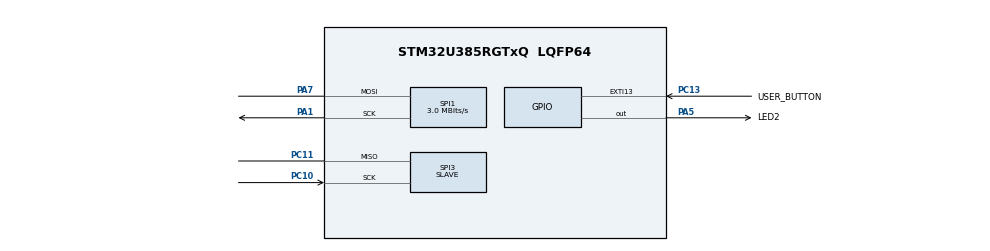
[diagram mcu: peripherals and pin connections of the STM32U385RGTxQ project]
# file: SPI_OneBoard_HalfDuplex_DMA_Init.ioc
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CORTEX_M33_NS.userName=CORTEX_M33
GPDMA1.DESTINC_GPDMACH0=DMA_DINC_INCREMENTED
GPDMA1.DIRECTION_GPDMACH1=DMA_MEMORY_TO_PERIPH
GPDMA1.IPHANDLE_GPDMACH0-SIMPLEREQUEST_GPDMACH0=__NULL
GPDMA1.IPHANDLE_GPDMACH1-SIMPLEREQUEST_GPDMACH1=__NULL
GPDMA1.REQUEST_GPDMACH0=GPDMA1_REQUEST_SPI3_RX
GPDMA1.REQUEST_GPDMACH1=GPDMA1_REQUEST_SPI1_TX
GPDMA1.SRCINC_GPDMACH1=DMA_SINC_INCREMENTED
GPDMA1.TRANSFERALLOCATEDPORTDEST_GPDMACH1=DMA_DEST_ALLOCATED_PORT0
GPDMA1.TRANSFERALLOCATEDPORTSRC_GPDMACH0=DMA_SRC_ALLOCATED_PORT0
Mcu.Family=STM32U3
Mcu.Name=STM32U385RGTxQ
Mcu.Package=LQFP64
NVIC.EXTI13_IRQn=true\:0\:0\:false\:true\:true\:1\:true\:true\:true
NVIC.GPDMA1_Channel0_IRQn=true\:0\:0\:false\:false\:true\:false\:true\:true
NVIC.GPDMA1_Channel1_IRQn=true\:0\:0\:false\:false\:true\:false\:true\:true
NVIC.PriorityGroup=NVIC_PRIORITYGROUP_4
NVIC.SPI1_IRQn=true\:0\:0\:false\:false\:true\:false\:true\:true
NVIC.SPI3_IRQn=true\:0\:0\:false\:false\:true\:false\:true\:true
PA1.Mode=Simplex_Bidirectional_Master
PA1.Signal=SPI1_SCK
PA5.GPIO_Label=LED2
PA5.Signal=GPIO_Output
PA7.Mode=Simplex_Bidirectional_Master
PA7.Signal=SPI1_MOSI
PC10.Mode=Simplex_Bidirectional_Slave
PC10.Signal=SPI3_SCK
PC11.Mode=Simplex_Bidirectional_Slave
PC11.Signal=SPI3_MISO
PC13.GPIO_Label=USER_BUTTON
PC13.GPIO_ModeDefaultEXTI=GPIO_MODE_IT_RISING
PC13.GPIO_PuPd=GPIO_PULLDOWN
PC13.Signal=GPXTI13
ProjectManager.HeapSize=0x200
ProjectManager.StackSize=0x400
ProjectManager.TargetToolchain=EWARM V9.20
RCC.ADCFreq_Value=96000000
RCC.AHBFreq_Value=96000000
RCC.APB1Freq_Value=96000000
RCC.APB1TimFreq_Value=96000000
RCC.APB2Freq_Value=96000000
RCC.APB2TimFreq_Value=96000000
RCC.APB3Freq_Value=96000000
RCC.CortexFreq_Value=12000000
RCC.HCLKFreq_Value=96000000
RCC.HSE_VALUE=24000000
RCC.HSI48_VALUE=48000000
RCC.HSI_VALUE=16000000
RCC.LSE_VALUE=32768
RCC.LSIDIV_VALUE=32000
RCC.MSISDIV=RCC_MSI_DIV1
RCC.SYSCLKFreq_VALUE=96000000
RCC.USBFreq_Value=96000000
SPI1.BaudRatePrescaler=SPI_BAUDRATEPRESCALER_32
SPI1.CalculateBaudRate=3.0 MBits/s
SPI1.DataSize=SPI_DATASIZE_8BIT
SPI1.Direction=SPI_DIRECTION_1LINE
SPI1.Mode=SPI_MODE_MASTER
SPI1.VirtualType=VM_MASTER
SPI3.Direction=SPI_DIRECTION_1LINE
SPI3.Mode=SPI_MODE_SLAVE
SPI3.VirtualType=VM_SLAVE
VP_GPDMA1_VS_GPDMACH0.Mode=SIMPLEREQUEST_GPDMACH0
VP_GPDMA1_VS_GPDMACH1.Mode=SIMPLEREQUEST_GPDMACH1
VP_ICACHE_VS_ICACHE.Mode=DirectMappedCache
VP_PWR_VS_DBSignals.Mode=DisableDeadBatterySignals
VP_PWR_VS_LPOM.Mode=PowerOptimisation
VP_PWR_VS_SECSignals.Mode=Security/Privilege
board=custom

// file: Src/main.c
/* USER CODE BEGIN Header */
/**
  ******************************************************************************
  * @file    Examples_LL/SPI/SPI_OneBoard_HalfDuplex_DMA_Init/Src/main.c
  * @author  MCD Application Team
  * @brief   This example describes how to send/receive bytes over SPI IP using
  *          the STM32U3xx SPI LL API.
  *          Peripheral initialization done using LL initialization function.
  ******************************************************************************
  * @attention
  *
  * Copyright (c) 2024 STMicroelectronics.
  * All rights reserved.
  *
  * This software is licensed under terms that can be found in the LICENSE file
  * in the root directory of this software component.
  * If no LICENSE file comes with this software, it is provided AS-IS.
  *
  ******************************************************************************
  */
/* USER CODE END Header */
#include "main.h"

/* USER CODE BEGIN PTD */
LL_SPI_InitTypeDef spi_initstruct;
/* USER CODE END PTD */

/* USER CODE BEGIN PV */
__IO uint8_t ubButtonPress = 0;

/* Buffer used for transmission */
uint8_t aTxBuffer[] = "**** SPI_OneBoard_HalfDuplex_DMA_Init communication **** SPI_OneBoard_HalfDuplex_DMA_Init communication **** SPI_OneBoard_HalfDuplex_DMA_Init communication ****";
uint8_t ubNbDataToTransmit = sizeof(aTxBuffer);
__IO uint8_t ubTransmissionComplete = 0;

/* Buffer used for reception */
uint8_t aRxBuffer[sizeof(aTxBuffer)];
uint8_t ubNbDataToReceive = sizeof(aTxBuffer);
__IO uint8_t ubReceptionComplete = 0;
/* USER CODE END PV */

void SystemClock_Config(void);
static void MX_GPIO_Init(void);
static void MX_GPDMA1_Init(void);
static void MX_SPI1_Init(void);
static void MX_ICACHE_Init(void);
static void MX_SPI3_Init(void);
static void MX_NVIC_Init(void);
/* USER CODE BEGIN PFP */
void     SystemClock_Config(void);
void     Activate_SPI1(void);
void     Activate_SPI3(void);
void     LED_On(void);
void     LED_Blinking(uint32_t Period);
void     LED_Off(void);
void     UserButton_Callback(void);
void     WaitForUserButtonPress(void);
void     WaitAndCheckEndOfTransfer(void);
uint8_t  Buffercmp8(uint8_t *pBuffer1, uint8_t *pBuffer2, uint8_t BufferLength);
/* USER CODE END PFP */

int main(void)
{

  /* MCU Configuration--------------------------------------------------------*/

  /* Reset of all peripherals, Initializes the Flash interface and the Systick. */

  /* System interrupt init*/
  NVIC_SetPriorityGrouping(NVIC_PRIORITYGROUP_4);

  /* SysTick_IRQn interrupt configuration */
  NVIC_SetPriority(SysTick_IRQn, NVIC_EncodePriority(NVIC_GetPriorityGrouping(),15, 0));

  /* USER CODE BEGIN Init */
  LL_SPI_SetFIFOThreshold(SPI1,LL_SPI_FIFO_TH_01DATA);
  /* USER CODE END Init */

  /* Configure the system clock */
  SystemClock_Config();

  /* Initialize all configured peripherals */
  MX_GPIO_Init();
  MX_GPDMA1_Init();
  MX_SPI1_Init();
  MX_ICACHE_Init();
  MX_SPI3_Init();

  /* Initialize interrupts */
  MX_NVIC_Init();
  /* USER CODE BEGIN 2 */
  /* Enable the SPI3 peripheral */
  Activate_SPI3();

  /* Wait for User push-button press to start transfer */
  WaitForUserButtonPress();

  /* Enable the SPI1 peripheral */
  Activate_SPI1();

  /* Wait for the end of the transfer and check received data */
  /* LED blinking FAST during waiting time */
  WaitAndCheckEndOfTransfer();
  /* USER CODE END 2 */

  /* Infinite loop */
  while (1)
  {

  }
}

void SystemClock_Config(void)
{
  /** Enable Epod Booster
  */
  LL_AHB1_GRP2_EnableClock(LL_AHB1_GRP2_PERIPH_PWR);
  LL_RCC_SetEPODBoosterClkSource(LL_RCC_EPODBOOSTCLKSRCE_MSIS);
  LL_RCC_SetEPODBoosterClkPrescaler(LL_RCC_EPODBOOSTCLKPRESCAL_1);
  LL_PWR_EnableEPODBooster();
  while(LL_PWR_IsActiveFlag_BOOST() != 1U)
  {
  }

  /** Configure the main internal regulator output voltage
  */
  LL_PWR_SetRegulVoltageScaling(LL_PWR_REGU_VOLTAGE_SCALE1);
  while(LL_PWR_GetRegulCurrentVOS() != LL_PWR_REGU_VOLTAGE_SCALE1)
  {
  }

  /** Set Flash latency before switching to MSIS
  */
  LL_FLASH_SetLatency(LL_FLASH_LATENCY_2);
  while(LL_FLASH_GetLatency() != LL_FLASH_LATENCY_2)
  {
  }

  /** Activate MSIS as source
  */
  LL_RCC_MSIS_SetClockSource(LL_RCC_MSIS_CLOCK_SOURCE_RC0);
  LL_RCC_MSIS_SetClockDivision(LL_RCC_MSIS_CLOCK_SOURCE_RC_DIV_1);
  LL_RCC_MSI_SetMSIxClockRange();
  LL_RCC_SetSysClkSource(LL_RCC_SYS_CLKSOURCE_MSIS);

  /** Wait till System clock is ready
  */
  while(LL_RCC_GetSysClkSource() != LL_RCC_SYS_CLKSOURCE_MSIS)
  {
  }

  LL_RCC_SetAHBPrescaler(LL_RCC_HCLK_SYSCLK_DIV_1);
  LL_RCC_SetAPB1Prescaler(LL_RCC_APB1_HCLK_DIV_1);
  LL_RCC_SetAPB2Prescaler(LL_RCC_APB2_HCLK_DIV_1);
  LL_RCC_SetAPB3Prescaler(LL_RCC_APB3_HCLK_DIV_1);

  LL_Init1msTick(96000000);

  LL_SetSystemCoreClock(96000000);
}

/**
  * @brief NVIC Configuration.
  * @retval None
  */
static void MX_NVIC_Init(void)
{
  /* EXTI13_IRQn interrupt configuration */
  NVIC_SetPriority(EXTI13_IRQn, NVIC_EncodePriority(NVIC_GetPriorityGrouping(),0, 0));
  NVIC_EnableIRQ(EXTI13_IRQn);
}

static void MX_GPDMA1_Init(void)
{

  /* Peripheral clock enable */
  LL_AHB1_GRP1_EnableClock(LL_AHB1_GRP1_PERIPH_GPDMA1);

  /* GPDMA1 interrupt Init */
  NVIC_SetPriority(GPDMA1_Channel0_IRQn, NVIC_EncodePriority(NVIC_GetPriorityGrouping(),0, 0));
  NVIC_EnableIRQ(GPDMA1_Channel0_IRQn);
  NVIC_SetPriority(GPDMA1_Channel1_IRQn, NVIC_EncodePriority(NVIC_GetPriorityGrouping(),0, 0));
  NVIC_EnableIRQ(GPDMA1_Channel1_IRQn);

}

static void MX_ICACHE_Init(void)
{

  /** Enable instruction cache in 1-way (direct mapped cache)
  */
  LL_ICACHE_SetMode(LL_ICACHE_1WAY);
  LL_ICACHE_Enable();

}

static void MX_SPI1_Init(void)
{

  LL_SPI_InitTypeDef SPI_InitStruct = {0};

  LL_GPIO_InitTypeDef GPIO_InitStruct = {0};
  LL_DMA_InitTypeDef DMA_InitStruct = {0};

  LL_RCC_SetSPIClockSource(LL_RCC_SPI1_CLKSOURCE_PCLK2);

  /* Peripheral clock enable */
  LL_APB2_GRP1_EnableClock(LL_APB2_GRP1_PERIPH_SPI1);

  LL_AHB2_GRP1_EnableClock(LL_AHB2_GRP1_PERIPH_GPIOA);
  /**SPI1 GPIO Configuration
  PA1   ------> SPI1_SCK
  PA7   ------> SPI1_MOSI
  */
  GPIO_InitStruct.Pin = LL_GPIO_PIN_1|LL_GPIO_PIN_7;
  GPIO_InitStruct.Mode = LL_GPIO_MODE_ALTERNATE;
  GPIO_InitStruct.Speed = LL_GPIO_SPEED_FREQ_LOW;
  GPIO_InitStruct.OutputType = LL_GPIO_OUTPUT_PUSHPULL;
  GPIO_InitStruct.Pull = LL_GPIO_PULL_NO;
  GPIO_InitStruct.Alternate = LL_GPIO_AF_5;
  LL_GPIO_Init(GPIOA, &GPIO_InitStruct);

  /* SPI1 DMA Init */

  /* GPDMA1_REQUEST_SPI1_TX Init */
  DMA_InitStruct.SrcAddress = 0x00000000U;
  DMA_InitStruct.DestAddress = 0x00000000U;
  DMA_InitStruct.Direction = LL_DMA_DIRECTION_MEMORY_TO_PERIPH;
  DMA_InitStruct.BlkHWRequest = LL_DMA_HWREQUEST_SINGLEBURST;
  DMA_InitStruct.DataAlignment = LL_DMA_DATA_ALIGN_ZEROPADD;
  DMA_InitStruct.SrcBurstLength = 1;
  DMA_InitStruct.DestBurstLength = 1;
  DMA_InitStruct.SrcDataWidth = LL_DMA_SRC_DATAWIDTH_BYTE;
  DMA_InitStruct.DestDataWidth = LL_DMA_DEST_DATAWIDTH_BYTE;
  DMA_InitStruct.SrcIncMode = LL_DMA_SRC_INCREMENT;
  DMA_InitStruct.DestIncMode = LL_DMA_DEST_FIXED;
  DMA_InitStruct.Priority = LL_DMA_LOW_PRIORITY_LOW_WEIGHT;
  DMA_InitStruct.BlkDataLength = 0x00000000U;
  DMA_InitStruct.TriggerMode = LL_DMA_TRIGM_BLK_TRANSFER;
  DMA_InitStruct.TriggerPolarity = LL_DMA_TRIG_POLARITY_MASKED;
  DMA_InitStruct.TriggerSelection = 0x00000000U;
  DMA_InitStruct.Request = LL_GPDMA1_REQUEST_SPI1_TX;
  DMA_InitStruct.TransferEventMode = LL_DMA_TCEM_BLK_TRANSFER;
  DMA_InitStruct.SrcAllocatedPort = LL_DMA_SRC_ALLOCATED_PORT0;
  DMA_InitStruct.DestAllocatedPort = LL_DMA_DEST_ALLOCATED_PORT0;
  DMA_InitStruct.LinkAllocatedPort = LL_DMA_LINK_ALLOCATED_PORT1;
  DMA_InitStruct.LinkStepMode = LL_DMA_LSM_FULL_EXECUTION;
  DMA_InitStruct.LinkedListBaseAddr = 0x00000000U;
  DMA_InitStruct.LinkedListAddrOffset = 0x00000000U;
  LL_DMA_Init(GPDMA1, LL_DMA_CHANNEL_1, &DMA_InitStruct);

  /* SPI1 interrupt Init */
  NVIC_SetPriority(SPI1_IRQn, NVIC_EncodePriority(NVIC_GetPriorityGrouping(),0, 0));
  NVIC_EnableIRQ(SPI1_IRQn);

  /* USER CODE BEGIN SPI1_Init 1 */
  /* Configure the GPDMA1_Channel3 functional parameters */
  LL_DMA_ConfigAddresses(GPDMA1, LL_DMA_CHANNEL_1,
                         (uint32_t)aTxBuffer, LL_SPI_DMA_GetTxRegAddr(SPI1));

  LL_DMA_SetBlkDataLength(GPDMA1, LL_DMA_CHANNEL_1, ubNbDataToTransmit);

  /* Enable DMA interrupts complete/error */
  LL_DMA_EnableIT_TC(GPDMA1, LL_DMA_CHANNEL_1);
  LL_DMA_EnableIT_DTE(GPDMA1, LL_DMA_CHANNEL_1);
  /* USER CODE END SPI1_Init 1 */
  /* SPI1 parameter configuration*/
  SPI_InitStruct.TransferDirection = LL_SPI_HALF_DUPLEX_TX;
  SPI_InitStruct.Mode = LL_SPI_MODE_MASTER;
  SPI_InitStruct.DataWidth = LL_SPI_DATAWIDTH_8BIT;
  SPI_InitStruct.ClockPolarity = LL_SPI_POLARITY_LOW;
  SPI_InitStruct.ClockPhase = LL_SPI_PHASE_1EDGE;
  SPI_InitStruct.NSS = LL_SPI_NSS_SOFT;
  SPI_InitStruct.BaudRate = LL_SPI_BAUDRATEPRESCALER_DIV32;
  SPI_InitStruct.BitOrder = LL_SPI_MSB_FIRST;
  SPI_InitStruct.CRCCalculation = LL_SPI_CRCCALCULATION_DISABLE;
  SPI_InitStruct.CRCPoly = 0x7;
  LL_SPI_Init(SPI1, &SPI_InitStruct);
  LL_SPI_SetStandard(SPI1, LL_SPI_PROTOCOL_MOTOROLA);
  LL_SPI_EnableNSSPulseMgt(SPI1);
  /* USER CODE BEGIN SPI1_Init 2 */
  /* Configure SPI1 DMA transfer interrupts */
  /* Enable DMA TX Interrupt */
  LL_SPI_EnableDMAReq_TX(SPI1);
  /* Set transfer size */
  LL_SPI_SetTransferSize(SPI1, ubNbDataToTransmit);
  /* USER CODE END SPI1_Init 2 */

}

static void MX_SPI3_Init(void)
{

  LL_SPI_InitTypeDef SPI_InitStruct = {0};

  LL_GPIO_InitTypeDef GPIO_InitStruct = {0};
  LL_DMA_InitTypeDef DMA_InitStruct = {0};

  LL_RCC_SetSPIClockSource(LL_RCC_SPI3_CLKSOURCE_PCLK1);

  /* Peripheral clock enable */
  LL_APB1_GRP1_EnableClock(LL_APB1_GRP1_PERIPH_SPI3);

  LL_AHB2_GRP1_EnableClock(LL_AHB2_GRP1_PERIPH_GPIOC);
  /**SPI3 GPIO Configuration
  PC10   ------> SPI3_SCK
  PC11   ------> SPI3_MISO
  */
  GPIO_InitStruct.Pin = LL_GPIO_PIN_10|LL_GPIO_PIN_11;
  GPIO_InitStruct.Mode = LL_GPIO_MODE_ALTERNATE;
  GPIO_InitStruct.Speed = LL_GPIO_SPEED_FREQ_LOW;
  GPIO_InitStruct.OutputType = LL_GPIO_OUTPUT_PUSHPULL;
  GPIO_InitStruct.Pull = LL_GPIO_PULL_NO;
  GPIO_InitStruct.Alternate = LL_GPIO_AF_6;
  LL_GPIO_Init(GPIOC, &GPIO_InitStruct);

  /* SPI3 DMA Init */

  /* GPDMA1_REQUEST_SPI3_RX Init */
  DMA_InitStruct.SrcAddress = 0x00000000U;
  DMA_InitStruct.DestAddress = 0x00000000U;
  DMA_InitStruct.Direction = LL_DMA_DIRECTION_PERIPH_TO_MEMORY;
  DMA_InitStruct.BlkHWRequest = LL_DMA_HWREQUEST_SINGLEBURST;
  DMA_InitStruct.DataAlignment = LL_DMA_DATA_ALIGN_ZEROPADD;
  DMA_InitStruct.SrcBurstLength = 1;
  DMA_InitStruct.DestBurstLength = 1;
  DMA_InitStruct.SrcDataWidth = LL_DMA_SRC_DATAWIDTH_BYTE;
  DMA_InitStruct.DestDataWidth = LL_DMA_DEST_DATAWIDTH_BYTE;
  DMA_InitStruct.SrcIncMode = LL_DMA_SRC_FIXED;
  DMA_InitStruct.DestIncMode = LL_DMA_DEST_INCREMENT;
  DMA_InitStruct.Priority = LL_DMA_LOW_PRIORITY_LOW_WEIGHT;
  DMA_InitStruct.BlkDataLength = 0x00000000U;
  DMA_InitStruct.TriggerMode = LL_DMA_TRIGM_BLK_TRANSFER;
  DMA_InitStruct.TriggerPolarity = LL_DMA_TRIG_POLARITY_MASKED;
  DMA_InitStruct.TriggerSelection = 0x00000000U;
  DMA_InitStruct.Request = LL_GPDMA1_REQUEST_SPI3_RX;
  DMA_InitStruct.TransferEventMode = LL_DMA_TCEM_BLK_TRANSFER;
  DMA_InitStruct.SrcAllocatedPort = LL_DMA_SRC_ALLOCATED_PORT0;
  DMA_InitStruct.DestAllocatedPort = LL_DMA_DEST_ALLOCATED_PORT0;
  DMA_InitStruct.LinkAllocatedPort = LL_DMA_LINK_ALLOCATED_PORT1;
  DMA_InitStruct.LinkStepMode = LL_DMA_LSM_FULL_EXECUTION;
  DMA_InitStruct.LinkedListBaseAddr = 0x00000000U;
  DMA_InitStruct.LinkedListAddrOffset = 0x00000000U;
  LL_DMA_Init(GPDMA1, LL_DMA_CHANNEL_0, &DMA_InitStruct);

  /* SPI3 interrupt Init */
  NVIC_SetPriority(SPI3_IRQn, NVIC_EncodePriority(NVIC_GetPriorityGrouping(),0, 0));
  NVIC_EnableIRQ(SPI3_IRQn);

  /* USER CODE BEGIN SPI3_Init 1 */
   /* Configure the GPDMA1_Channel3 functional parameters */
  LL_DMA_ConfigAddresses(GPDMA1, LL_DMA_CHANNEL_0,
                         LL_SPI_DMA_GetRxRegAddr(SPI3), (uint32_t)aRxBuffer);
  LL_DMA_SetBlkDataLength(GPDMA1, LL_DMA_CHANNEL_0, ubNbDataToTransmit);

  /* Enable DMA interrupts complete/error */
  LL_DMA_EnableIT_TC(GPDMA1, LL_DMA_CHANNEL_0);
  LL_DMA_EnableIT_DTE(GPDMA1, LL_DMA_CHANNEL_0);
  /* USER CODE END SPI3_Init 1 */
  /* SPI3 parameter configuration*/
  SPI_InitStruct.TransferDirection = LL_SPI_HALF_DUPLEX_RX;
  SPI_InitStruct.Mode = LL_SPI_MODE_SLAVE;
  SPI_InitStruct.DataWidth = LL_SPI_DATAWIDTH_8BIT;
  SPI_InitStruct.ClockPolarity = LL_SPI_POLARITY_LOW;
  SPI_InitStruct.ClockPhase = LL_SPI_PHASE_1EDGE;
  SPI_InitStruct.NSS = LL_SPI_NSS_SOFT;
  SPI_InitStruct.BitOrder = LL_SPI_MSB_FIRST;
  SPI_InitStruct.CRCCalculation = LL_SPI_CRCCALCULATION_DISABLE;
  SPI_InitStruct.CRCPoly = 0x7;
  LL_SPI_Init(SPI3, &SPI_InitStruct);
  LL_SPI_SetStandard(SPI3, LL_SPI_PROTOCOL_MOTOROLA);
  LL_SPI_DisableNSSPulseMgt(SPI3);
  /* USER CODE BEGIN SPI3_Init 2 */
  /* Configure SPI1 DMA transfer interrupts */
  /* Enable DMA RX Interrupt */
  LL_SPI_EnableDMAReq_RX(SPI3);
  /* Set transfer size */
  LL_SPI_SetTransferSize(SPI3, ubNbDataToTransmit);

  /* USER CODE END SPI3_Init 2 */

}

static void MX_GPIO_Init(void)
{
  LL_EXTI_InitTypeDef EXTI_InitStruct = {0};
  LL_GPIO_InitTypeDef GPIO_InitStruct = {0};

  /* GPIO Ports Clock Enable */
  LL_AHB2_GRP1_EnableClock(LL_AHB2_GRP1_PERIPH_GPIOC);
  LL_AHB2_GRP1_EnableClock(LL_AHB2_GRP1_PERIPH_GPIOA);

  /**/
  LL_GPIO_ResetOutputPin(LED2_GPIO_Port, LED2_Pin);

  /**/
  LL_EXTI_SetEXTISource(LL_EXTI_CONFIG_PORTC, LL_EXTI_CONFIG_LINE13);

  /**/
  EXTI_InitStruct.Line_0_31 = LL_EXTI_LINE_13;
  EXTI_InitStruct.LineCommand = ENABLE;
  EXTI_InitStruct.Mode = LL_EXTI_MODE_IT;
  EXTI_InitStruct.Trigger = LL_EXTI_TRIGGER_RISING;
  LL_EXTI_Init(&EXTI_InitStruct);

  /**/
  LL_GPIO_SetPinPull(USER_BUTTON_GPIO_Port, USER_BUTTON_Pin, LL_GPIO_PULL_DOWN);

  /**/
  LL_GPIO_SetPinMode(USER_BUTTON_GPIO_Port, USER_BUTTON_Pin, LL_GPIO_MODE_INPUT);

  /**/
  GPIO_InitStruct.Pin = LED2_Pin;
  GPIO_InitStruct.Mode = LL_GPIO_MODE_OUTPUT;
  GPIO_InitStruct.Speed = LL_GPIO_SPEED_FREQ_LOW;
  GPIO_InitStruct.OutputType = LL_GPIO_OUTPUT_PUSHPULL;
  GPIO_InitStruct.Pull = LL_GPIO_PULL_NO;
  LL_GPIO_Init(LED2_GPIO_Port, &GPIO_InitStruct);

}

/* USER CODE BEGIN 4 */

/**
  * @brief  This function Activate SPI1
  * @param  None
  * @retval None
  */
void Activate_SPI1(void)
{
  /* Enable SPI1 */
  LL_SPI_Enable(SPI1);
  /* Start Master transfer */
  LL_SPI_StartMasterTransfer(SPI1);
  /* Enable DMA Channels Tx */
  LL_DMA_EnableChannel(GPDMA1, LL_DMA_CHANNEL_1);
}

/**
  * @brief  This function Activate SPI3
  * @param  None
  * @retval None
  */
void Activate_SPI3(void)
{
  /* Enable SPI3 */
  LL_SPI_Enable(SPI3);
  /* Enable DMA Channels Rx */
  LL_DMA_EnableChannel(GPDMA1, LL_DMA_CHANNEL_0);
}

/**
  * @brief  Turn-on LED2.
  * @param  None
  * @retval None
  */
void LED_On(void)
{
  /* Turn LED2 on */
  LL_GPIO_SetOutputPin(LED2_GPIO_Port, LED2_Pin);
}

/**
  * @brief  Turn-off LED2.
  * @param  None
  * @retval None
  */
void LED_Off(void)
{
  /* Turn LED2 off */
  LL_GPIO_ResetOutputPin(LED2_GPIO_Port, LED2_Pin);
}

/**
  * @brief  Set LED2 to Blinking mode for an infinite loop (toggle period based on value provided as input parameter).
  * @param  Period : Period of time (in ms) between each toggling of LED
  *   This parameter can be user defined values. Pre-defined values used in that example are :
  *     @arg LED_BLINK_FAST : Fast Blinking
  *     @arg LED_BLINK_SLOW : Slow Blinking
  *     @arg LED_BLINK_ERROR : Error specific Blinking
  * @retval None
  */
void LED_Blinking(uint32_t Period)
{
  /* Toggle LED2 in an infinite loop */
  while (1)
  {
    LL_GPIO_TogglePin(LED2_GPIO_Port, LED2_Pin);
    LL_mDelay(Period);
  }
}

/**
  * @brief  Wait for USER push-button press to start transfer.
  * @param  None
  * @retval None
  */
/*  */
void WaitForUserButtonPress(void)
{
  while (ubButtonPress == 0)
  {
    LL_GPIO_TogglePin(LED2_GPIO_Port, LED2_Pin);
    LL_mDelay(LED_BLINK_FAST);
  }
  /* Ensure that LED2 is turned Off */
  LED_Off();
}

/**
  * @brief  Wait end of transfer and check if received Data are well.
  * @param  None
  * @retval None
  */
void WaitAndCheckEndOfTransfer(void)
{
  /* 1 - Wait end of transmission */
  while (ubTransmissionComplete != 1)
  {
  }
  /* Disable GPDMA1 Tx Channel */
  LL_DMA_DisableChannel(GPDMA1, LL_DMA_CHANNEL_1);
  /* 2 - Wait end of reception */
  while (ubReceptionComplete != 1)
  {
  }
  /* Disable GPDMA1 Rx Channel */
  LL_DMA_DisableChannel(GPDMA1, LL_DMA_CHANNEL_0);
  /* 3 - Compare Transmit data to receive data */
  if (Buffercmp8((uint8_t *)aTxBuffer, (uint8_t *)aRxBuffer, ubNbDataToTransmit))
  {
    /* Processing Error */
    LED_Blinking(LED_BLINK_ERROR);
  }
  else
  {
    /* Turn On Led if data are well received */
    LED_On();
  }
}

/**
* @brief Compares two 8-bit buffers and returns the comparison result.
* @param pBuffer1: pointer to the source buffer to be compared to.
* @param pBuffer2: pointer to the second source buffer to be compared to the first.
* @param BufferLength: buffer's length.
* @retval   0: Comparison is OK (the two Buffers are identical)
*           Value different from 0: Comparison is NOK (Buffers are different)
*/
uint8_t Buffercmp8(uint8_t *pBuffer1, uint8_t *pBuffer2, uint8_t BufferLength)
{
  while (BufferLength--)
  {
    if (*pBuffer1 != *pBuffer2)
    {
      return 1;
    }

    pBuffer1++;
    pBuffer2++;
  }

  return 0;
}

/******************************************************************************/
/*   USER IRQ HANDLER TREATMENT Functions                                     */
/******************************************************************************/
/**
  * @brief  Function to manage USER push-button
  * @param  None
  * @retval None
  */
void UserButton_Callback(void)
{
  /* Update USER push-button variable : to be checked in waiting loop in main program */
  ubButtonPress = 1;
}

/**
  * @brief  Function called from GPDMA1 IRQ Handler when Tx transfer is completed
  * @param  None
  * @retval None
  */
void GPDMA1_TransmitComplete_Callback(void)
{
  /* DMA Tx transfer completed */
  ubTransmissionComplete = 1;
}

/**
  * @brief  Function called from GPDMA1 IRQ Handler when Rx transfer is completed
  * @param  None
  * @retval None
  */
void GPDMA1_ReceiveComplete_Callback(void)
{
  /* DMA Rx transfer completed */
  ubReceptionComplete = 1;
}

/**
  * @brief  Function called in case of error detected in SPI IT Handler
  * @param  None
  * @retval None
  */
void SPI_TransferError_Callback(void)
{
  /* Disable GPDMA1 Tx Channel */
  LL_DMA_DisableChannel(GPDMA1, LL_DMA_CHANNEL_1);
  /* Disable GPDMA1 Rx Channel */
  LL_DMA_DisableChannel(GPDMA1, LL_DMA_CHANNEL_0);

  /* Set LED2 to Blinking mode to indicate error occurs */
  LED_Blinking(LED_BLINK_ERROR);
}

/* USER CODE END 4 */

void Error_Handler(void)
{
}
